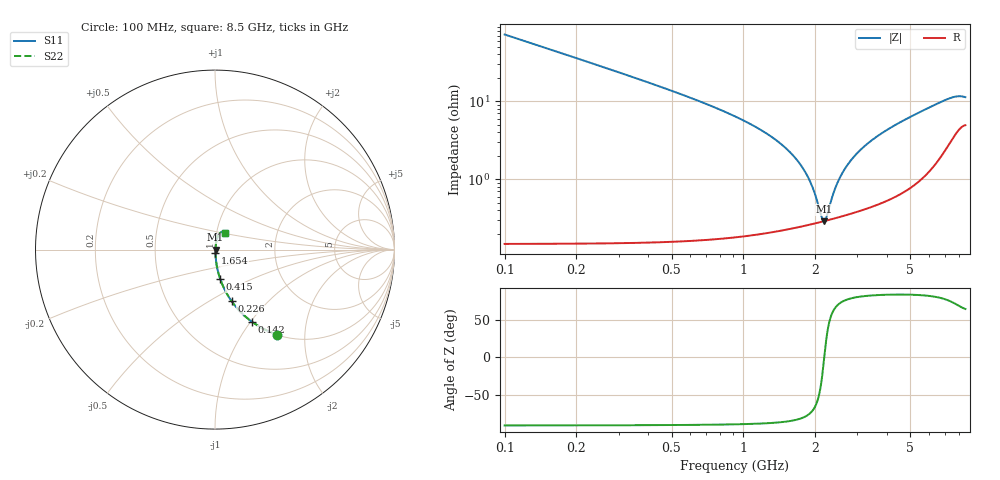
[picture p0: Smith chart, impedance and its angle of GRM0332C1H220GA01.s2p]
!Murata Part Number: GRM0332C1H220GA01
!These Parameters are Measured in Series Mode Connection
!Data Generated on Mar 30, 2021
!  o--ll--o
!Port1  Port2
!  o------o
!Operation Temp=25[degC], DC Bias Voltage=0[V]
!Freq. Start=100[MHz] Stop=9[GHz] 401[Steps]
# Hz S RI R 50
!Freq.(Hz) S11(Real) S11(Imag) S21(Real) S21(Imag) S12(Real) S12(Imag) S22(Real) S22(Imag)
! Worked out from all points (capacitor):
!   401 points, 100 MHz to 8.5 GHz, reference 50 ohm
!   read as one part in series: C = 22 pF near 142 MHz
!   lowest |Z| = 291 mohm at 2.179 GHz (marker M1)
!   series resonance near 2.179 GHz, so ESL is about 240 pH
!   S11 on the Smith chart (normalised r, x): 100 MHz: 1.00, -1.44; 142 MHz: 1.00, -1.01; 226 MHz: 1.00, -0.63; 415 MHz: 1.00, -0.34; 1.654 GHz: 1.00, -0.04; 8.5 GHz: 1.10, +0.20
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1e8  0.3429 -0.4737  0.6571 0.4737  0.6571 0.4737  0.3429 -0.4737
1.42e8  0.2054 -0.4025  0.7946 0.4025  0.7946 0.4025  0.2054 -0.4025
2.26e8  0.0922 -0.287  0.9078 0.287  0.9078 0.287  0.0922 -0.287
4.15e8  0.0288 -0.1628  0.9712 0.1628  0.9712 0.1628  0.0288 -0.1628
7.09e8  0.00986 -0.0901  0.9901 0.0901  0.9901 0.0901  0.00986 -0.0901
1.507e9  0.00287 -0.0248  0.9971 0.0248  0.9971 0.0248  0.00287 -0.0248
1.654e9  0.00272 -0.0183  0.9973 0.0183  0.9973 0.0183  0.00272 -0.0183
1.885e9  0.0027 -0.00955  0.9973 0.00955  0.9973 0.00955  0.0027 -0.00955
1.99e9  0.00274 -0.00597  0.9973 0.00597  0.9973 0.00597  0.00274 -0.00597
2.116e9  0.00284 -0.00193  0.9972 0.00193  0.9972 0.00193  0.00284 -0.00193
2.179e9  0.0029 -8e-06  0.9971 8e-06  0.9971 8e-06  0.0029 -8e-06
2.221e9  0.00295 0.00124  0.9971 -0.00124  0.9971 -0.00124  0.00295 0.00124
2.389e9  0.00316 0.00603  0.9968 -0.00603  0.9968 -0.00603  0.00316 0.00603
2.515e9  0.00335 0.00942  0.9966 -0.00942  0.9966 -0.00942  0.00335 0.00942
2.683e9  0.00364 0.0137  0.9964 -0.0137  0.9964 -0.0137  0.00364 0.0137
2.914e9  0.00409 0.0193  0.9959 -0.0193  0.9959 -0.0193  0.00409 0.0193
3.481e9  0.00548 0.0318  0.9945 -0.0318  0.9945 -0.0318  0.00548 0.0318
4.3e9  0.00822 0.0483  0.9918 -0.0483  0.9918 -0.0483  0.00822 0.0483
5.707e9  0.0163 0.0747  0.9837 -0.0747  0.9837 -0.0747  0.0163 0.0747
7.114e9  0.0346 0.0971  0.9654 -0.0971  0.9654 -0.0971  0.0346 0.0971
7.828e9  0.0489 0.0995  0.9511 -0.0995  0.9511 -0.0995  0.0489 0.0995
8.5e9  0.0561 0.0916  0.9439 -0.0916  0.9439 -0.0916  0.0561 0.0916
